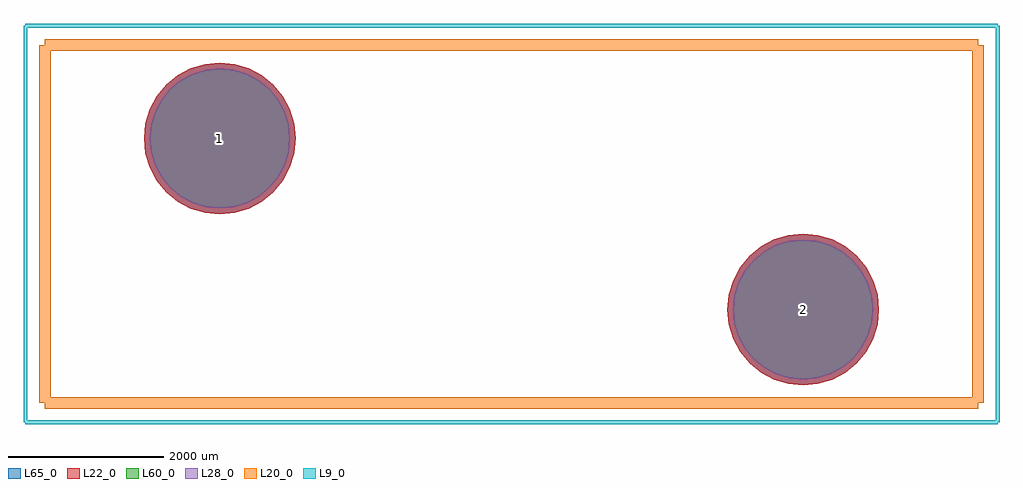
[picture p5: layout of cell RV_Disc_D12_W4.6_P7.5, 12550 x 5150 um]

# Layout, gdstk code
import gdstk
lib = gdstk.Library(unit=1e-6, precision=1e-09)
def P(c, l, *ps):  # polygons
    for p in ps: c.add(gdstk.Polygon(p, *l))
L9_0 = (9, 0)
L20_0 = (20, 0)
L22_0 = (22, 0)
L28_0 = (28, 0)
L60_0 = (60, 0)
L65_0 = (65, 0)

rv_disc_d12_w4_6_p7_5 = lib.new_cell('RV_Disc_D12_W4.6_P7.5')
P(rv_disc_d12_w4_6_p7_5, L22_0, [(8475,-2200),(8456.266,-2009.787),(8400.783,-1826.884),(8310.683,-1658.319),(8189.429,-1510.571),(8041.681,-1389.317),(7873.116,-1299.217),(7690.213,-1243.734),(7500,-1225),(7309.787,-1243.734),(7126.884,-1299.217),(6958.319,-1389.317),(6810.571,-1510.571),(6689.317,-1658.319),(6599.217,-1826.884),(6543.734,-2009.787),(6525,-2200),(6543.734,-2390.213),(6599.217,-2573.116),(6689.317,-2741.681),(6810.571,-2889.429),(6958.319,-3010.683),(7126.884,-3100.783),(7309.787,-3156.266),(7500,-3175),(7690.213,-3156.266),(7873.116,-3100.783),(8041.681,-3010.683),(8189.429,-2889.429),(8310.683,-2741.681),(8400.783,-2573.116),(8456.266,-2390.213)],
  [(975,0),(956.266,190.213),(900.783,373.116),(810.683,541.681),(689.429,689.429),(541.681,810.683),(373.116,900.783),(190.213,956.266),(0,975),(-190.213,956.266),(-373.116,900.783),(-541.681,810.683),(-689.429,689.429),(-810.683,541.681),(-900.783,373.116),(-956.266,190.213),(-975,0),(-956.266,-190.213),(-900.783,-373.116),(-810.683,-541.681),(-689.429,-689.429),(-541.681,-810.683),(-373.116,-900.783),(-190.213,-956.266),(0,-975),(190.213,-956.266),(373.116,-900.783),(541.681,-810.683),(689.429,-689.429),(810.683,-541.681),(900.783,-373.116),(956.266,-190.213)])
P(rv_disc_d12_w4_6_p7_5, L28_0, [(8400,-2200),(8382.707,-2024.419),(8331.492,-1855.585),(8248.323,-1699.987),(8136.396,-1563.604),(8000.013,-1451.677),(7844.415,-1368.508),(7675.581,-1317.293),(7500,-1300),(7324.419,-1317.293),(7155.585,-1368.508),(6999.987,-1451.677),(6863.604,-1563.604),(6751.677,-1699.987),(6668.508,-1855.585),(6617.293,-2024.419),(6600,-2200),(6617.293,-2375.581),(6668.508,-2544.415),(6751.677,-2700.013),(6863.604,-2836.396),(6999.987,-2948.323),(7155.585,-3031.492),(7324.419,-3082.707),(7500,-3100),(7675.581,-3082.707),(7844.415,-3031.492),(8000.013,-2948.323),(8136.396,-2836.396),(8248.323,-2700.013),(8331.492,-2544.415),(8382.707,-2375.581)],
  [(900,0),(882.707,175.581),(831.492,344.415),(748.323,500.013),(636.396,636.396),(500.013,748.323),(344.415,831.492),(175.581,882.707),(0,900),(-175.581,882.707),(-344.415,831.492),(-500.013,748.323),(-636.396,636.396),(-748.323,500.013),(-831.492,344.415),(-882.707,175.581),(-900,0),(-882.707,-175.581),(-831.492,-344.415),(-748.323,-500.013),(-636.396,-636.396),(-500.013,-748.323),(-344.415,-831.492),(-175.581,-882.707),(0,-900),(175.581,-882.707),(344.415,-831.492),(500.013,-748.323),(636.396,-636.396),(748.323,-500.013),(831.492,-344.415),(882.707,-175.581)])
P(rv_disc_d12_w4_6_p7_5, L60_0, [(8400,-2200),(8382.707,-2024.419),(8331.492,-1855.585),(8248.323,-1699.987),(8136.396,-1563.604),(8000.013,-1451.677),(7844.415,-1368.508),(7675.581,-1317.293),(7500,-1300),(7324.419,-1317.293),(7155.585,-1368.508),(6999.987,-1451.677),(6863.604,-1563.604),(6751.677,-1699.987),(6668.508,-1855.585),(6617.293,-2024.419),(6600,-2200),(6617.293,-2375.581),(6668.508,-2544.415),(6751.677,-2700.013),(6863.604,-2836.396),(6999.987,-2948.323),(7155.585,-3031.492),(7324.419,-3082.707),(7500,-3100),(7675.581,-3082.707),(7844.415,-3031.492),(8000.013,-2948.323),(8136.396,-2836.396),(8248.323,-2700.013),(8331.492,-2544.415),(8382.707,-2375.581)],
  [(900,0),(882.707,175.581),(831.492,344.415),(748.323,500.013),(636.396,636.396),(500.013,748.323),(344.415,831.492),(175.581,882.707),(0,900),(-175.581,882.707),(-344.415,831.492),(-500.013,748.323),(-636.396,636.396),(-748.323,500.013),(-831.492,344.415),(-882.707,175.581),(-900,0),(-882.707,-175.581),(-831.492,-344.415),(-748.323,-500.013),(-636.396,-636.396),(-500.013,-748.323),(-344.415,-831.492),(-175.581,-882.707),(0,-900),(175.581,-882.707),(344.415,-831.492),(500.013,-748.323),(636.396,-636.396),(748.323,-500.013),(831.492,-344.415),(882.707,-175.581)])
P(rv_disc_d12_w4_6_p7_5, L65_0, [(8475,-2200),(8456.266,-2009.787),(8400.783,-1826.884),(8310.683,-1658.319),(8189.429,-1510.571),(8041.681,-1389.317),(7873.116,-1299.217),(7690.213,-1243.734),(7500,-1225),(7309.787,-1243.734),(7126.884,-1299.217),(6958.319,-1389.317),(6810.571,-1510.571),(6689.317,-1658.319),(6599.217,-1826.884),(6543.734,-2009.787),(6525,-2200),(6543.734,-2390.213),(6599.217,-2573.116),(6689.317,-2741.681),(6810.571,-2889.429),(6958.319,-3010.683),(7126.884,-3100.783),(7309.787,-3156.266),(7500,-3175),(7690.213,-3156.266),(7873.116,-3100.783),(8041.681,-3010.683),(8189.429,-2889.429),(8310.683,-2741.681),(8400.783,-2573.116),(8456.266,-2390.213)],
  [(975,0),(956.266,190.213),(900.783,373.116),(810.683,541.681),(689.429,689.429),(541.681,810.683),(373.116,900.783),(190.213,956.266),(0,975),(-190.213,956.266),(-373.116,900.783),(-541.681,810.683),(-689.429,689.429),(-810.683,541.681),(-900.783,373.116),(-956.266,190.213),(-975,0),(-956.266,-190.213),(-900.783,-373.116),(-810.683,-541.681),(-689.429,-689.429),(-541.681,-810.683),(-373.116,-900.783),(-190.213,-956.266),(0,-975),(190.213,-956.266),(373.116,-900.783),(541.681,-810.683),(689.429,-689.429),(810.683,-541.681),(900.783,-373.116),(956.266,-190.213)])
rv_disc_d12_w4_6_p7_5.add(gdstk.FlexPath([(-2250,1200),(-2250,-3400)], 149.998, ends="flush", simple_path=True, layer=20, datatype=0))  # L20_0
rv_disc_d12_w4_6_p7_5.add(gdstk.FlexPath([(9750,1200),(9750,-3400)], 149.998, ends="flush", simple_path=True, layer=20, datatype=0))  # L20_0
rv_disc_d12_w4_6_p7_5.add(gdstk.FlexPath([(-2250,1200),(9750,1200)], 149.998, ends="flush", simple_path=True, layer=20, datatype=0))  # L20_0
rv_disc_d12_w4_6_p7_5.add(gdstk.FlexPath([(-2250,-3400),(9750,-3400)], 149.998, ends="flush", simple_path=True, layer=20, datatype=0))  # L20_0
rv_disc_d12_w4_6_p7_5.add(gdstk.FlexPath([(-2500,1450),(-2500,-3650)], 50, ends="flush", simple_path=True, layer=9, datatype=0))  # L9_0
rv_disc_d12_w4_6_p7_5.add(gdstk.FlexPath([(10000,1450),(10000,-3650)], 50, ends="flush", simple_path=True, layer=9, datatype=0))  # L9_0
rv_disc_d12_w4_6_p7_5.add(gdstk.FlexPath([(-2500,1450),(10000,1450)], 50, ends="flush", simple_path=True, layer=9, datatype=0))  # L9_0
rv_disc_d12_w4_6_p7_5.add(gdstk.FlexPath([(-2500,-3650),(10000,-3650)], 50, ends="flush", simple_path=True, layer=9, datatype=0))  # L9_0
rv_disc_d12_w4_6_p7_5.add(gdstk.Label('2', (7500,-2200), layer=28, texttype=0))
rv_disc_d12_w4_6_p7_5.add(gdstk.Label('1', (0,0), layer=28, texttype=0))
rv_disc_d12_w4_6_p7_5.add(gdstk.Label('type', (3750,2200), layer=9, texttype=0))
rv_disc_d12_w4_6_p7_5.add(gdstk.Label('devicename', (3750,-4400), layer=9, texttype=0))

lib.write_gds('RV_Disc_D12_W4.6_P7.5.gds')
